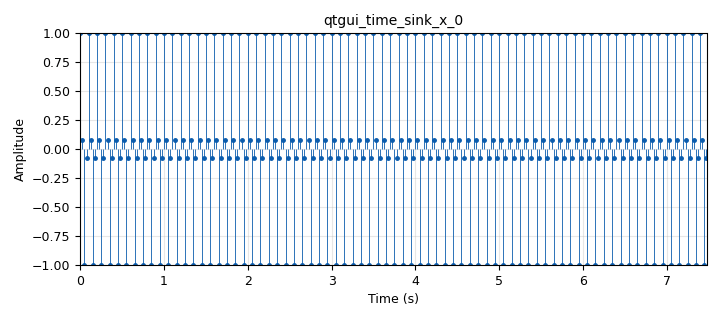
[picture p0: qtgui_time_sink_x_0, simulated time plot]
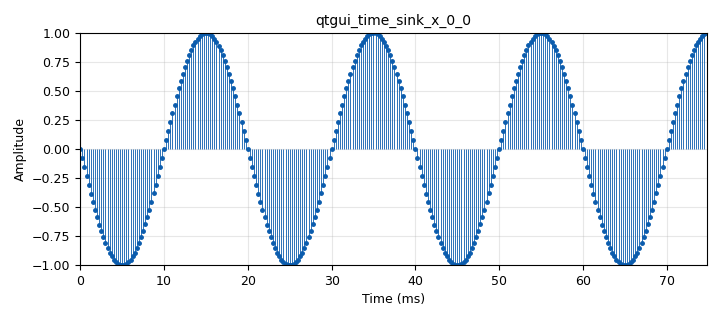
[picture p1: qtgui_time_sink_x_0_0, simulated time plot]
options:
  parameters:
    generate_options: qt_gui
    id: Ejercicio1
    output_language: python
    title: EJ1
  states: {}

blocks:
- name: samp_rate
  id: variable
  parameters:
    value: '4000'
  states: {}
- name: analog_sig_source_x_0
  id: analog_sig_source_x
  parameters:
    amp: '1'
    freq: '50'
    offset: '0'
    phase: '0'
    samp_rate: '40'
    type: float
    waveform: analog.GR_COS_WAVE
  states: {}
- name: analog_sig_source_x_0_0
  id: analog_sig_source_x
  parameters:
    amp: '1'
    freq: '50'
    offset: '0'
    phase: '0'
    samp_rate: samp_rate
    type: float
    waveform: analog.GR_COS_WAVE
  states: {}
- name: blocks_throttle_0
  id: blocks_throttle
  parameters:
    samples_per_second: samp_rate
    type: float
  states: {}
- name: blocks_throttle_0_0
  id: blocks_throttle
  parameters:
    samples_per_second: samp_rate
    type: float
  states: {}
- name: qtgui_time_sink_x_0
  id: qtgui_time_sink_x
  parameters:
    color1: black
    marker1: '0'
    size: '300'
    srate: '40'
    stemplot: 'True'
    type: float
  states: {}
- name: qtgui_time_sink_x_0_0
  id: qtgui_time_sink_x
  parameters:
    color1: black
    marker1: '0'
    size: '300'
    srate: samp_rate
    stemplot: 'True'
    type: float
  states: {}

connections:
- [analog_sig_source_x_0, '0', blocks_throttle_0, '0']
- [analog_sig_source_x_0_0, '0', blocks_throttle_0_0, '0']
- [blocks_throttle_0, '0', qtgui_time_sink_x_0, '0']
- [blocks_throttle_0_0, '0', qtgui_time_sink_x_0_0, '0']

metadata:
  file_format: 1
  grc_version: 3.10.12.0
